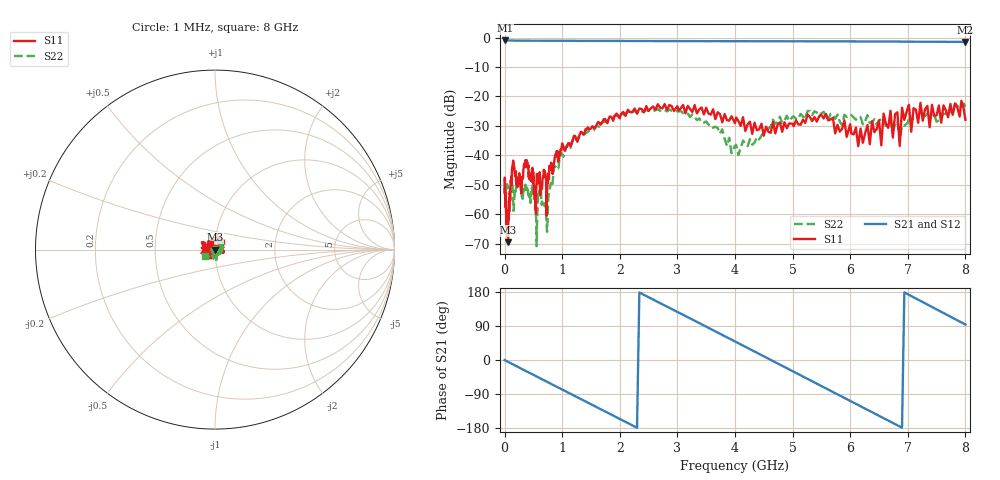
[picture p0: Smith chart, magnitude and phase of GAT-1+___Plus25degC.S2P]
! Mini-Circuits
! S2P DATA File Format
! Unit Family Type: Amplifier
! MCL Part No: GAT-1+
! Note: All S Parameters are in dB deg format
! The Unit was tested at +25 °C
# MHz S DB R 50
!  FREQ  dB(S11)  PHS(S11)  dB(S21)  PHS(S21)  dB(S12)  PHS(S12)  dB(S22)  PHS(S22)
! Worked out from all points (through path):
!   401 points, 1 MHz to 8 GHz, reference 50 ohm
!   highest |S21| = -0.99 dB at 9 MHz (marker M1); lowest = -1.5 dB at 8 GHz (marker M2)
!   group delay of S21, straight-line fit = 217 ps
!   lowest |S11| = -69.6 dB at 61 MHz (marker M3), VSWR 1.00, Z = 50 + j0.0232 ohm
!   |S11| at or under -10 dB: start of sweep to end of sweep
!   |S22| runs from -70.9 to -22.3 dB; largest |S21 - S12| = 0.0092
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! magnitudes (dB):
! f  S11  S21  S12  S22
! 1 MHz  -52.8  -1.0  -1.0  -52.6
! 9 MHz  -50.5  -1.0  -1.0  -53.8
! 61 MHz  -69.6  -1.0  -1.0  -51.0
! 125 MHz  -48.2  -1.0  -1.0  -47.8
! 149 MHz  -41.8  -1.0  -1.0  -55.8
! 217 MHz  -47.6  -1.0  -1.0  -49.0
! 377 MHz  -42.2  -1.1  -1.1  -51.2
! 493 MHz  -47.8  -1.1  -1.1  -49.9
! 537 MHz  -56.3  -1.1  -1.1  -57.4
! 557 MHz  -49.0  -1.1  -1.1  -70.9
! 593 MHz  -46.6  -1.1  -1.1  -53.4
! 634 MHz  -52.1  -1.1  -1.1  -52.6
! 698 MHz  -45.4  -1.1  -1.1  -56.4
! 738 MHz  -52.7  -1.1  -1.1  -66.0
! 874 MHz  -40.4  -1.1  -1.1  -44.1
! 1.345 GHz  -32.3  -1.1  -1.1  -33.0
! 2.7 GHz  -23.8  -1.2  -1.2  -24.9
! 4.02 GHz  -27.2  -1.2  -1.2  -36.5
! 5.34 GHz  -28.4  -1.3  -1.3  -26.3
! 6.14 GHz  -36.9  -1.3  -1.3  -27.1
! 6.7 GHz  -24.9  -1.4  -1.3  -28.2
! 8 GHz  -27.9  -1.5  -1.4  -23.5
